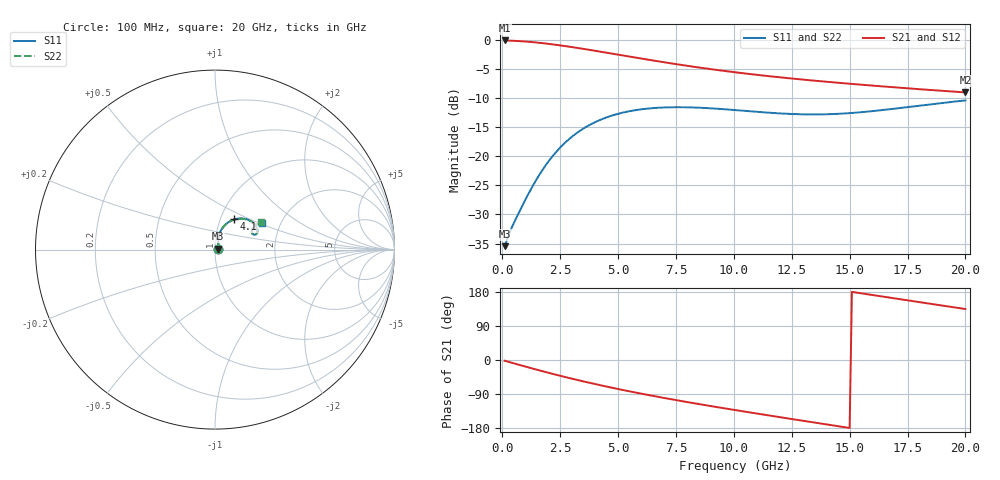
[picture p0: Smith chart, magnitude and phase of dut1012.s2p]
! Touchstone file exported from HFSS 2024.1.0
!  File:  C:/UserFiles/LocalFiles/RDL_TSV_Batchsim/temp_RDL_TSV_1012_1780079131.aedt
!  Generated:  02:42:42 AM May 30, 2026
!  Design:  RDL_TSV
!  Project:  temp_RDL_TSV_1012_1780079131
!  Setup:  Setup1
!  Solution:  Sweep
! Variables:
!  dtsv = 7.64um
!  hbump = 3um
!  htsv = 63.91um
!  ldown = 480.44um
!  lrdl = 523.63um
!  p = 40
!  p1 = 42.54um
!  rhole = 10um
!  subl = 3535.84um
!  t = 450um
!  tdown = 4.26um
!  trdl = 3.84um
!  viad = 10um
!  wdown = 18.65um
!  wrdl = 22.36um
!  xbump = 18um
# GHz S MA R 50.000000
! Terminal data exported
! Port[1] = TM1_1_T1
! Port[2] = TM1_4_T1
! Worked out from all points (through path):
!   200 points, 100 MHz to 20 GHz, reference 50 ohm
!   highest |S21| = -0.14 dB at 100 MHz (marker M1); lowest = -9.1 dB at 20 GHz (marker M2)
!   group delay of S21, straight-line fit = 29.8 ps
!   lowest |S11| = -35.4 dB at 100 MHz (marker M3), VSWR 1.03, Z = 51.6 + j0.486 ohm
!   |S11| at or under -10 dB: start of sweep to end of sweep
!   |S22| runs from -35.4 to -10.5 dB; largest |S21 - S12| = 1.9e-14
!   S11 on the Smith chart (normalised r, x): 100 MHz: 1.03, +0.01; 4.1 GHz: 1.16, +0.41; 20 GHz: 1.60, +0.53
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0.1  0.01691 16.2  0.9836 -1.8  0.9836 -1.8  0.01691 16.1
! Gamma 0 0 0 0
! Port Impedance 50 0 50 0
0.4  0.02422 41.3  0.9787 -7.1  0.9787 -7.1  0.02423 41.3
0.7  0.03229 55.4  0.9721 -12.3  0.9721 -12.3  0.03231 55.3
1.2  0.0505 69.1  0.9562 -20.8  0.9562 -20.8  0.05047 68.9
1.7  0.07436 74.0  0.9347 -29.0  0.9347 -29.0  0.07421 73.7
2.1  0.09602 74.0  0.9146 -35.4  0.9146 -35.4  0.09574 73.7
2.5  0.1186 72.1  0.8926 -41.7  0.8926 -41.7  0.1182 71.8
3  0.1465 68.2  0.8634 -49.2  0.8634 -49.2  0.1458 67.9
3.5  0.1725 63.5  0.8332 -56.4  0.8332 -56.4  0.1716 63.2
4.1  0.1997 57.5  0.7967 -64.8  0.7967 -64.8  0.1986 57.2
4.7  0.2219 51.5  0.7607 -72.7  0.7607 -72.7  0.2205 51.3
5.3  0.2388 46.0  0.7261 -80.3  0.7261 -80.3  0.2372 45.7
6  0.2524 40.1  0.688 -88.8  0.688 -88.8  0.2505 39.8
6.8  0.2609 34.2  0.648 -98.1  0.648 -98.1  0.2587 34.0
8.4  0.2612 25.6  0.5799 -115.4  0.5799 -115.4  0.2585 25.4
10.1  0.2483 20.9  0.5232 -132.6  0.5232 -132.6  0.2453 20.8
11.7  0.2347 20.5  0.4814 -148.1  0.4814 -148.1  0.2316 20.6
13.4  0.2281 23.6  0.4459 -164.3  0.4459 -164.3  0.2251 23.8
15  0.2341 27.5  0.4182 -179.3  0.4182 -179.3  0.2315 27.9
16.7  0.2524 30.6  0.393 164.8  0.393 164.8  0.2503 31.0
18.4  0.2772 31.2  0.3709 149.1  0.3709 149.1  0.2757 31.6
20  0.3008 29.9  0.3524 134.6  0.3524 134.6  0.2996 30.3
